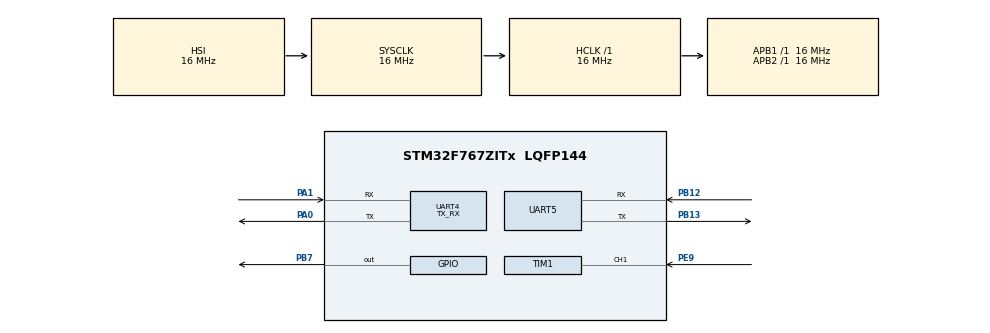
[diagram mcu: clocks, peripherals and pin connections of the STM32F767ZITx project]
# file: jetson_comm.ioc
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CORTEX_M7.default_mode_Activation=1
Dma.Request0=UART4_TX
Dma.Request1=UART5_TX
Dma.UART4_TX.0.Direction=DMA_MEMORY_TO_PERIPH
Dma.UART4_TX.0.FIFOMode=DMA_FIFOMODE_DISABLE
Dma.UART4_TX.0.Instance=DMA1_Stream4
Dma.UART4_TX.0.MemDataAlignment=DMA_MDATAALIGN_BYTE
Dma.UART4_TX.0.MemInc=DMA_MINC_ENABLE
Dma.UART4_TX.0.Mode=DMA_NORMAL
Dma.UART4_TX.0.PeriphDataAlignment=DMA_PDATAALIGN_BYTE
Dma.UART4_TX.0.PeriphInc=DMA_PINC_DISABLE
Dma.UART4_TX.0.Priority=DMA_PRIORITY_LOW
Dma.UART5_TX.1.Direction=DMA_MEMORY_TO_PERIPH
Dma.UART5_TX.1.FIFOMode=DMA_FIFOMODE_DISABLE
Dma.UART5_TX.1.Instance=DMA1_Stream7
Dma.UART5_TX.1.MemDataAlignment=DMA_MDATAALIGN_BYTE
Dma.UART5_TX.1.MemInc=DMA_MINC_ENABLE
Dma.UART5_TX.1.Mode=DMA_NORMAL
Dma.UART5_TX.1.PeriphDataAlignment=DMA_PDATAALIGN_BYTE
Dma.UART5_TX.1.PeriphInc=DMA_PINC_DISABLE
Dma.UART5_TX.1.Priority=DMA_PRIORITY_LOW
Mcu.Family=STM32F7
Mcu.Name=STM32F767ZITx
Mcu.Package=LQFP144
NVIC.DMA1_Stream4_IRQn=true\:0\:0\:false\:false\:true\:false\:true\:true
NVIC.DMA1_Stream7_IRQn=true\:0\:0\:false\:false\:true\:false\:true\:true
NVIC.PriorityGroup=NVIC_PRIORITYGROUP_4
NVIC.TIM1_CC_IRQn=true\:0\:0\:false\:false\:true\:true\:true\:true
NVIC.UART4_IRQn=true\:0\:0\:false\:false\:true\:true\:true\:true
NVIC.UART5_IRQn=true\:0\:0\:false\:false\:true\:true\:true\:true
PA0/WKUP.Mode=Asynchronous
PA0/WKUP.Signal=UART4_TX
PA1.Mode=Asynchronous
PA1.Signal=UART4_RX
PA13.Mode=Serial_Wire
PA13.Signal=SYS_JTMS-SWDIO
PA14.Mode=Serial_Wire
PA14.Signal=SYS_JTCK-SWCLK
PB12.Mode=Asynchronous
PB12.Signal=UART5_RX
PB13.Mode=Asynchronous
PB13.Signal=UART5_TX
PB7.Signal=GPIO_Output
PE9.Signal=S_TIM1_CH1
ProjectManager.HeapSize=0x200
ProjectManager.StackSize=0x400
ProjectManager.TargetToolchain=STM32CubeIDE
RCC.AHBFreq_Value=16000000
RCC.APB1Freq_Value=16000000
RCC.APB1TimFreq_Value=16000000
RCC.APB2Freq_Value=16000000
RCC.APB2TimFreq_Value=16000000
RCC.CortexFreq_Value=16000000
RCC.HCLKFreq_Value=16000000
RCC.HSE_VALUE=25000000
RCC.HSI_VALUE=16000000
RCC.LSE_VALUE=32768
RCC.SYSCLKFreq_VALUE=16000000
RCC.USBFreq_Value=96000000
RCC.VCOOutputFreq_Value=192000000
SH.S_TIM1_CH1.0=TIM1_CH1,Input_Capture1_from_TI1
TIM1.Channel-Input_Capture1_from_TI1=TIM_CHANNEL_1
TIM1.Period=39999
TIM1.Prescaler=3
UART4.Mode=MODE_TX_RX
VP_TIM1_VS_ClockSourceINT.Mode=Internal
board=custom

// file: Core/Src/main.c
 /* USER CODE BEGIN Header */
/**
  ******************************************************************************
  * @file           : main.c
  * @brief          : Main program body
  ******************************************************************************
  * @attention
  *
  * Copyright (c) 2025 STMicroelectronics.
  * All rights reserved.
  *
  * This software is licensed under terms that can be found in the LICENSE file
  * in the root directory of this software component.
  * If no LICENSE file comes with this software, it is provided AS-IS.
  *
  ******************************************************************************
  */
/* USER CODE END Header */
#include "main.h"

/* USER CODE BEGIN Includes */
#include <string.h>

/* USER CODE END Includes */

TIM_HandleTypeDef htim1;

UART_HandleTypeDef huart4;
UART_HandleTypeDef huart5;
DMA_HandleTypeDef hdma_uart4_tx;
DMA_HandleTypeDef hdma_uart5_tx;

void SystemClock_Config(void);
static void MPU_Config(void);
static void MX_GPIO_Init(void);
static void MX_DMA_Init(void);
static void MX_TIM1_Init(void);
static void MX_UART4_Init(void);
static void MX_UART5_Init(void);
/* USER CODE BEGIN PFP */
void j_command(void);

/* USER CODE END PFP */

/* USER CODE BEGIN 0 */

//global vars
uint8_t j_rx_data[8] = {0,0,0,0,0,0,0,0};
uint8_t r_rx_data[8] = {0,0,0,0,0,0,0,0};
uint8_t tx_data[8] = {0,1,2,3,4,5,6,7};
uint8_t h4_is_sent = 0;
uint8_t h5_is_sent = 0;

const char* led_command = "00000led";

//interpret jetson command
void j_command(void) {
	//command to toggle led on board
	//using strstr because of the address byte
	if(strstr((const char *)j_rx_data, led_command)) {
		HAL_GPIO_TogglePin(GPIOB, GPIO_PIN_7);
	}
}

/* USER CODE END 0 */

int main(void)
{

  /* MPU Configuration--------------------------------------------------------*/
  MPU_Config();

  /* MCU Configuration--------------------------------------------------------*/

  /* Reset of all peripherals, Initializes the Flash interface and the Systick. */
  HAL_Init();

  /* Configure the system clock */
  SystemClock_Config();

  /* Initialize all configured peripherals */
  MX_GPIO_Init();
  MX_DMA_Init();
  MX_TIM1_Init();
  MX_UART4_Init();
  MX_UART5_Init();
  /* USER CODE BEGIN 2 */
  uint8_t loop[4] = {'l','o','o','p'};
  HAL_UART_Receive_IT(&huart5,r_rx_data,8);

  /* USER CODE END 2 */

  /* Infinite loop */
  while (1)
  {

    /* USER CODE BEGIN 3 */
	  HAL_GPIO_TogglePin(GPIOB, GPIO_PIN_7);
	  HAL_UART_Transmit_DMA(&huart4, loop, 4);
	  HAL_Delay(1000);
  }
  /* USER CODE END 3 */
}

void SystemClock_Config(void)
{
  RCC_OscInitTypeDef RCC_OscInitStruct = {0};
  RCC_ClkInitTypeDef RCC_ClkInitStruct = {0};

  /** Configure the main internal regulator output voltage
  */
  __HAL_RCC_PWR_CLK_ENABLE();
  __HAL_PWR_VOLTAGESCALING_CONFIG(PWR_REGULATOR_VOLTAGE_SCALE3);

  /** Initializes the RCC Oscillators according to the specified parameters
  * in the RCC_OscInitTypeDef structure.
  */
  RCC_OscInitStruct.OscillatorType = RCC_OSCILLATORTYPE_HSI;
  RCC_OscInitStruct.HSIState = RCC_HSI_ON;
  RCC_OscInitStruct.HSICalibrationValue = RCC_HSICALIBRATION_DEFAULT;
  RCC_OscInitStruct.PLL.PLLState = RCC_PLL_NONE;
  if (HAL_RCC_OscConfig(&RCC_OscInitStruct) != HAL_OK)
  {
    Error_Handler();
  }

  /** Initializes the CPU, AHB and APB buses clocks
  */
  RCC_ClkInitStruct.ClockType = RCC_CLOCKTYPE_HCLK|RCC_CLOCKTYPE_SYSCLK
                              |RCC_CLOCKTYPE_PCLK1|RCC_CLOCKTYPE_PCLK2;
  RCC_ClkInitStruct.SYSCLKSource = RCC_SYSCLKSOURCE_HSI;
  RCC_ClkInitStruct.AHBCLKDivider = RCC_SYSCLK_DIV1;
  RCC_ClkInitStruct.APB1CLKDivider = RCC_HCLK_DIV1;
  RCC_ClkInitStruct.APB2CLKDivider = RCC_HCLK_DIV1;

  if (HAL_RCC_ClockConfig(&RCC_ClkInitStruct, FLASH_LATENCY_0) != HAL_OK)
  {
    Error_Handler();
  }
}

static void MX_TIM1_Init(void)
{

  TIM_ClockConfigTypeDef sClockSourceConfig = {0};
  TIM_MasterConfigTypeDef sMasterConfig = {0};
  TIM_IC_InitTypeDef sConfigIC = {0};

  htim1.Instance = TIM1;
  htim1.Init.Prescaler = 3;
  htim1.Init.CounterMode = TIM_COUNTERMODE_UP;
  htim1.Init.Period = 39999;
  htim1.Init.ClockDivision = TIM_CLOCKDIVISION_DIV1;
  htim1.Init.RepetitionCounter = 0;
  htim1.Init.AutoReloadPreload = TIM_AUTORELOAD_PRELOAD_DISABLE;
  if (HAL_TIM_Base_Init(&htim1) != HAL_OK)
  {
    Error_Handler();
  }
  sClockSourceConfig.ClockSource = TIM_CLOCKSOURCE_INTERNAL;
  if (HAL_TIM_ConfigClockSource(&htim1, &sClockSourceConfig) != HAL_OK)
  {
    Error_Handler();
  }
  if (HAL_TIM_IC_Init(&htim1) != HAL_OK)
  {
    Error_Handler();
  }
  sMasterConfig.MasterOutputTrigger = TIM_TRGO_RESET;
  sMasterConfig.MasterOutputTrigger2 = TIM_TRGO2_RESET;
  sMasterConfig.MasterSlaveMode = TIM_MASTERSLAVEMODE_DISABLE;
  if (HAL_TIMEx_MasterConfigSynchronization(&htim1, &sMasterConfig) != HAL_OK)
  {
    Error_Handler();
  }
  sConfigIC.ICPolarity = TIM_INPUTCHANNELPOLARITY_RISING;
  sConfigIC.ICSelection = TIM_ICSELECTION_DIRECTTI;
  sConfigIC.ICPrescaler = TIM_ICPSC_DIV1;
  sConfigIC.ICFilter = 0;
  if (HAL_TIM_IC_ConfigChannel(&htim1, &sConfigIC, TIM_CHANNEL_1) != HAL_OK)
  {
    Error_Handler();
  }

}

static void MX_UART4_Init(void)
{

  huart4.Instance = UART4;
  huart4.Init.BaudRate = 115200;
  huart4.Init.WordLength = UART_WORDLENGTH_8B;
  huart4.Init.StopBits = UART_STOPBITS_1;
  huart4.Init.Parity = UART_PARITY_NONE;
  huart4.Init.Mode = UART_MODE_TX_RX;
  huart4.Init.HwFlowCtl = UART_HWCONTROL_NONE;
  huart4.Init.OverSampling = UART_OVERSAMPLING_16;
  huart4.Init.OneBitSampling = UART_ONE_BIT_SAMPLE_DISABLE;
  huart4.AdvancedInit.AdvFeatureInit = UART_ADVFEATURE_NO_INIT;
  if (HAL_UART_Init(&huart4) != HAL_OK)
  {
    Error_Handler();
  }

}

static void MX_UART5_Init(void)
{

  huart5.Instance = UART5;
  huart5.Init.BaudRate = 115200;
  huart5.Init.WordLength = UART_WORDLENGTH_8B;
  huart5.Init.StopBits = UART_STOPBITS_1;
  huart5.Init.Parity = UART_PARITY_NONE;
  huart5.Init.Mode = UART_MODE_TX_RX;
  huart5.Init.HwFlowCtl = UART_HWCONTROL_NONE;
  huart5.Init.OverSampling = UART_OVERSAMPLING_16;
  huart5.Init.OneBitSampling = UART_ONE_BIT_SAMPLE_DISABLE;
  huart5.AdvancedInit.AdvFeatureInit = UART_ADVFEATURE_NO_INIT;
  if (HAL_UART_Init(&huart5) != HAL_OK)
  {
    Error_Handler();
  }

}

static void MX_DMA_Init(void)
{

  /* DMA controller clock enable */
  __HAL_RCC_DMA1_CLK_ENABLE();

  /* DMA interrupt init */
  /* DMA1_Stream4_IRQn interrupt configuration */
  HAL_NVIC_SetPriority(DMA1_Stream4_IRQn, 0, 0);
  HAL_NVIC_EnableIRQ(DMA1_Stream4_IRQn);
  /* DMA1_Stream7_IRQn interrupt configuration */
  HAL_NVIC_SetPriority(DMA1_Stream7_IRQn, 0, 0);
  HAL_NVIC_EnableIRQ(DMA1_Stream7_IRQn);

}

static void MX_GPIO_Init(void)
{
  GPIO_InitTypeDef GPIO_InitStruct = {0};

  /* GPIO Ports Clock Enable */
  __HAL_RCC_GPIOA_CLK_ENABLE();
  __HAL_RCC_GPIOE_CLK_ENABLE();
  __HAL_RCC_GPIOB_CLK_ENABLE();

  /*Configure GPIO pin Output Level */
  HAL_GPIO_WritePin(GPIOB, GPIO_PIN_7, GPIO_PIN_RESET);

  /*Configure GPIO pin : PB7 */
  GPIO_InitStruct.Pin = GPIO_PIN_7;
  GPIO_InitStruct.Mode = GPIO_MODE_OUTPUT_PP;
  GPIO_InitStruct.Pull = GPIO_NOPULL;
  GPIO_InitStruct.Speed = GPIO_SPEED_FREQ_LOW;
  HAL_GPIO_Init(GPIOB, &GPIO_InitStruct);

}

/* USER CODE BEGIN 4 */
//user functions
//tx interrupt hander
void HAL_UART_TxCpltCallback(UART_HandleTypeDef *huart) {
	if (huart -> Instance == UART4) {
		h4_is_sent = 1;
	}
	else if (huart -> Instance == UART5) {
		h5_is_sent = 1;
	}
}

//rx interrupt handler
void HAL_UART_RxCpltCallback(UART_HandleTypeDef *huart) {
	//check for if its from Jetson or Robot
	//Jetson sends expected commands for the data
	if (huart->Instance == huart4.Instance) {
		//check address
		//if address is 3, send to robot micro via uart 5
		if((char)(j_rx_data[0]) == '3') {
			HAL_UART_Transmit_DMA(&huart5, j_rx_data, 8);
			h5_is_sent = 0;
		}
		//if address is 2, keep and interpret the command
		else if((char)(j_rx_data[0]) == '2') {
			j_command();

		}

	}
	HAL_UART_Receive_IT(&huart4, j_rx_data,8);

}
/* USER CODE END 4 */

 /* MPU Configuration */

void MPU_Config(void)
{
  MPU_Region_InitTypeDef MPU_InitStruct = {0};

  /* Disables the MPU */
  HAL_MPU_Disable();

  /** Initializes and configures the Region and the memory to be protected
  */
  MPU_InitStruct.Enable = MPU_REGION_ENABLE;
  MPU_InitStruct.Number = MPU_REGION_NUMBER0;
  MPU_InitStruct.BaseAddress = 0x0;
  MPU_InitStruct.Size = MPU_REGION_SIZE_4GB;
  MPU_InitStruct.SubRegionDisable = 0x87;
  MPU_InitStruct.TypeExtField = MPU_TEX_LEVEL0;
  MPU_InitStruct.AccessPermission = MPU_REGION_NO_ACCESS;
  MPU_InitStruct.DisableExec = MPU_INSTRUCTION_ACCESS_DISABLE;
  MPU_InitStruct.IsShareable = MPU_ACCESS_SHAREABLE;
  MPU_InitStruct.IsCacheable = MPU_ACCESS_NOT_CACHEABLE;
  MPU_InitStruct.IsBufferable = MPU_ACCESS_NOT_BUFFERABLE;

  HAL_MPU_ConfigRegion(&MPU_InitStruct);
  /* Enables the MPU */
  HAL_MPU_Enable(MPU_PRIVILEGED_DEFAULT);

}

void Error_Handler(void)
{
  __disable_irq();
  while (1)
  {
  }
}
